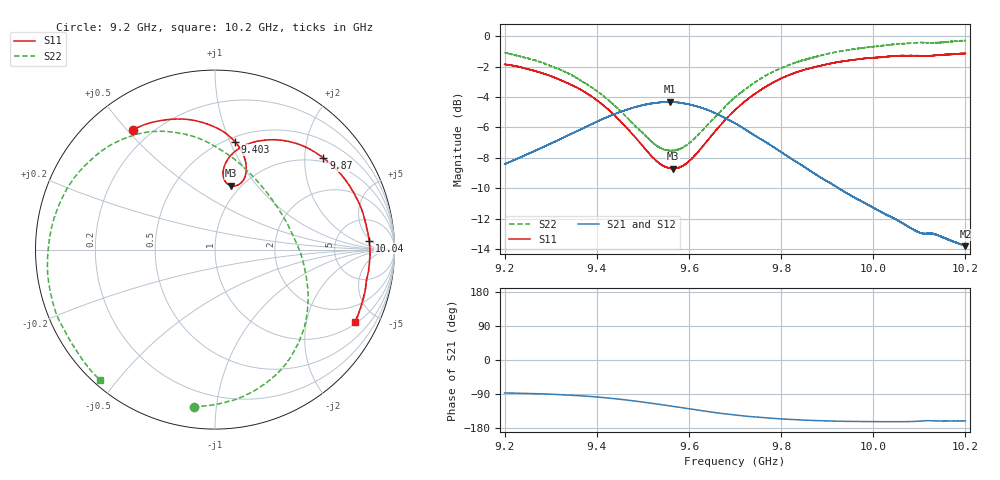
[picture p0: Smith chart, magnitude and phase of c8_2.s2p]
!Agilent Technologies,N5242A,MY51221714,A.09.90.19
!Agilent N5242A: A.09.90.19
!Date: Saturday, March 16, 2024 10:07:46
!Correction: S11(Full 2 Port(1,2))
!S21(Full 2 Port(1,2))
!S12(Full 2 Port(1,2))
!S22(Full 2 Port(1,2))
!S2P File: Measurements: S11, S21, S12, S22:
# Hz S  dB  R 50
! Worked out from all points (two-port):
!   16001 points, 9.2 GHz to 10.2 GHz, reference 50 ohm
!   highest |S21| = -4.31 dB at 9.558 GHz (marker M1); lowest = -13.8 dB at 10.2 GHz (marker M2)
!   |S21| within 3 dB of the highest: 9.283 GHz to 9.784 GHz (501.3 MHz wide, 5.26 % of centre); 9.784337 GHz to 9.784586 GHz (249.2 kHz wide, 0.00255 % of centre)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
!   lowest |S11| = -8.7 dB at 9.566 GHz (marker M3), VSWR 2.16, Z = 45.3 + j37.2 ohm
!   |S11| at or under -10 dB: nowhere
!   |S22| runs from -7.6 to -0.3 dB; largest |S21 - S12| = 0.0071
!   S11 on the Smith chart (normalised r, x): 9.2 GHz: 0.14, +0.52; 9.403 GHz: 0.55, +1.04; 9.87 GHz: 0.90, +2.44; 10.04 GHz: 12, +4; 10.2 GHz: 1.09, -3.83
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9.2e9  -1.85 124.2  -8.42 -87.2  -8.41 -87.7  -1.07 -97.7
9.277625e9  -2.38 106.8  -7.38 -89.3  -7.36 -89.7  -1.70 -76.4
9.323438e9  -2.91 96.4  -6.73 -91.5  -6.70 -92.0  -2.23 -63.5
9.366688e9  -3.54 87.1  -6.11 -94.6  -6.09 -95.1  -2.93 -51.4
9.403438e9  -4.29 79.4  -5.58 -97.9  -5.56 -98.5  -3.66 -40.3
9.465938e9  -6.05 69.6  -4.82 -105.8  -4.82 -106.3  -5.36 -18.6
9.533375e9  -8.31 70.1  -4.36 -116.7  -4.34 -117.2  -7.26 15.0
9.558312e9  -8.67 74.4  -4.31 -121.3  -4.30 -121.8  -7.53 30.7
9.566188e9  -8.72 76.0  -4.34 -122.7  -4.32 -123.2  -7.53 35.7
9.595125e9  -8.36 81.1  -4.45 -128.1  -4.43 -128.5  -7.15 53.7
9.635125e9  -7.04 84.0  -4.78 -135.1  -4.79 -135.6  -5.99 74.7
9.7e9  -4.86 77.3  -5.73 -145.0  -5.70 -145.6  -4.02 98.8
9.741688e9  -3.82 69.1  -6.52 -150.0  -6.50 -150.7  -3.07 111.0
9.779688e9  -3.09 60.9  -7.21 -153.6  -7.21 -154.4  -2.37 121.0
9.822062e9  -2.49 51.3  -8.06 -156.9  -8.06 -157.4  -1.82 131.9
9.866688e9  -2.07 41.1  -8.93 -159.5  -8.93 -160.0  -1.42 142.9
9.870438e9  -2.04 40.2  -9.00 -159.6  -9.00 -160.2  -1.38 143.9
9.956375e9  -1.54 21.3  -10.57 -162.1  -10.55 -162.6  -0.86 165.5
1.003338e10  -1.34 5.0  -11.83 -162.8  -11.81 -163.4  -0.55 -174.7
1.004138e10  -1.31 3.3  -11.93 -162.7  -11.95 -163.3  -0.54 -172.8
1.010725e10  -1.30 -9.9  -13.00 -160.8  -12.98 -161.3  -0.41 -156.0
1.02e10  -1.13 -27.3  -13.82 -160.7  -13.81 -161.3  -0.27 -131.3
